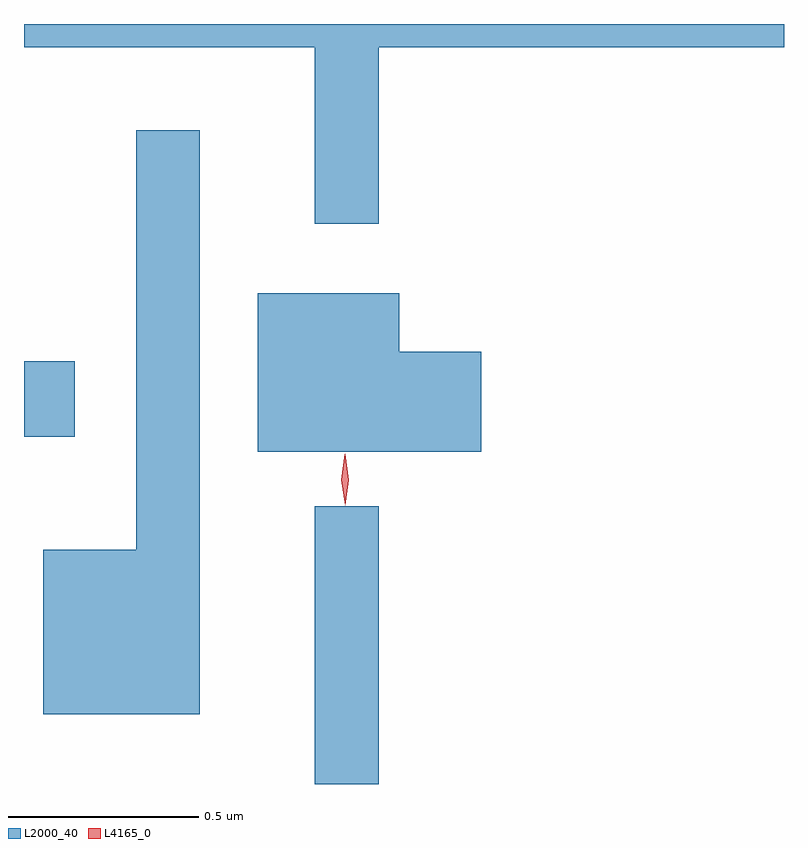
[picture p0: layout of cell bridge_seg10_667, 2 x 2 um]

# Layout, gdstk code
import gdstk
lib = gdstk.Library(unit=1e-6, precision=1e-09)
def R(c, l, rs):  # rectangles x0, y0, x1, y1
    for r in rs: c.add(gdstk.rectangle(r[:2], r[2:], *l))
def P(c, l, *ps):  # polygons
    for p in ps: c.add(gdstk.Polygon(p, *l))
L2000_40 = (2000, 40)
L4165_0 = (4165, 0)

bridge_seg10_667 = lib.new_cell('bridge_seg10_667')
R(bridge_seg10_667, L2000_40, [(721.801,2091.997,721.969,2092.728), (721.036,2092.911,721.169,2093.109)])
P(bridge_seg10_667, L2000_40, [(721.969,2093.936),(723.036,2093.936),(723.036,2093.997),(721.036,2093.997),(721.036,2093.936),(721.801,2093.936),(721.801,2093.472),(721.969,2093.472)],
  [(721.499,2093.718),(721.331,2093.718),(721.331,2092.614),(721.086,2092.614),(721.086,2092.181),(721.499,2092.181)],
  [(722.239,2093.134),(722.024,2093.134),(722.024,2093.289),(721.651,2093.289),(721.651,2092.871),(722.239,2092.871)])
P(bridge_seg10_667, L4165_0, [(721.881,2092.73),(721.881,2092.73),(721.871,2092.798),(721.88,2092.865),(721.881,2092.866),(721.881,2092.865),(721.891,2092.798),(721.882,2092.73)],
  [(721.881,2092.733),(721.881,2092.733),(721.871,2092.796),(721.88,2092.859),(721.881,2092.86),(721.881,2092.859),(721.891,2092.796),(721.882,2092.733)])

lib.write_gds('bridge_seg10_667.gds')
